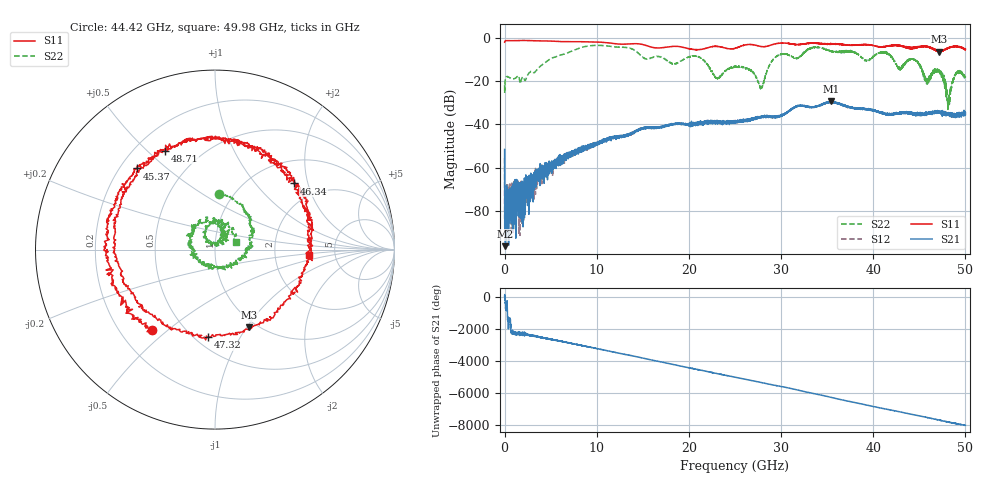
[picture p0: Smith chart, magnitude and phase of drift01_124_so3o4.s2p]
!Created with skrf (http://scikit-rf.org).
# Hz S RI R 50.0
!freq ReS11 ImS11 ReS21 ImS21 ReS12 ImS12 ReS22 ImS22
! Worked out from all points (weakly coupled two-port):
!   10001 points, 300 kHz to 50 GHz, reference 50 ohm
!   highest |S21| = -29.48 dB at 35.42 GHz (marker M1); lowest = -96.2 dB at 95.3 MHz (marker M2)
!   lowest |S11| = -6.5 dB at 47.14 GHz (marker M3), VSWR 2.79, Z = 46.1 - j51.4 ohm
!   |S11| at or under -10 dB: nowhere
!   |S22| runs from -33.1 to -3.6 dB; largest |S21 - S12| = 0.0041
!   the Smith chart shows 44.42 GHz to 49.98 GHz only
!   S11 on the Smith chart (normalised r, x): 44.42 GHz: 0.33, -0.44; 45.37 GHz: 0.27, +0.40; 46.34 GHz: 1.49, +1.64; 47.32 GHz: 0.58, -0.74; 48.71 GHz: 0.32, +0.57; 49.98 GHz: 3.20, -0.26
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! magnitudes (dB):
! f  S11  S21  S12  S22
! 300 kHz  -2.1  -51.6  -55.5  -22.0
! 95.3 MHz  -1.5  -96.2  -73.6  -18.8
! 530.3 MHz  -1.5  -81.4  -73.8  -18.5
! 8.335 GHz  -1.9  -51.0  -51.7  -4.5
! 16.67 GHz  -4.8  -41.6  -41.7  -8.7
! 20.97 GHz  -5.6  -39.6  -39.6  -8.8
! 23.09 GHz  -4.1  -38.9  -39.0  -18.8
! 25 GHz  -5.0  -38.9  -38.9  -13.8
! 27.84 GHz  -4.1  -36.5  -36.5  -23.1
! 29.46 GHz  -2.9  -36.4  -36.6  -8.8
! 33.34 GHz  -2.6  -32.0  -32.0  -4.7
! 35.42 GHz  -2.7  -29.5  -29.8  -6.3
! 41.67 GHz  -3.8  -35.5  -35.3  -7.8
! 44.42 GHz  -4.9  -35.4  -35.4  -10.2
! 45.37 GHz  -4.1  -35.3  -35.8  -16.3
! 46.34 GHz  -4.8  -35.0  -34.8  -16.8
! 47.14 GHz  -6.5  -34.4  -34.7  -15.2
! 47.32 GHz  -6.2  -34.3  -34.7  -15.7
! 48.13 GHz  -4.8  -35.2  -35.8  -30.2
! 48.71 GHz  -4.2  -36.5  -35.4  -18.7
! 49.98 GHz  -5.6  -34.8  -34.7  -18.0
! 50 GHz  -5.4  -34.7  -34.8  -18.3
